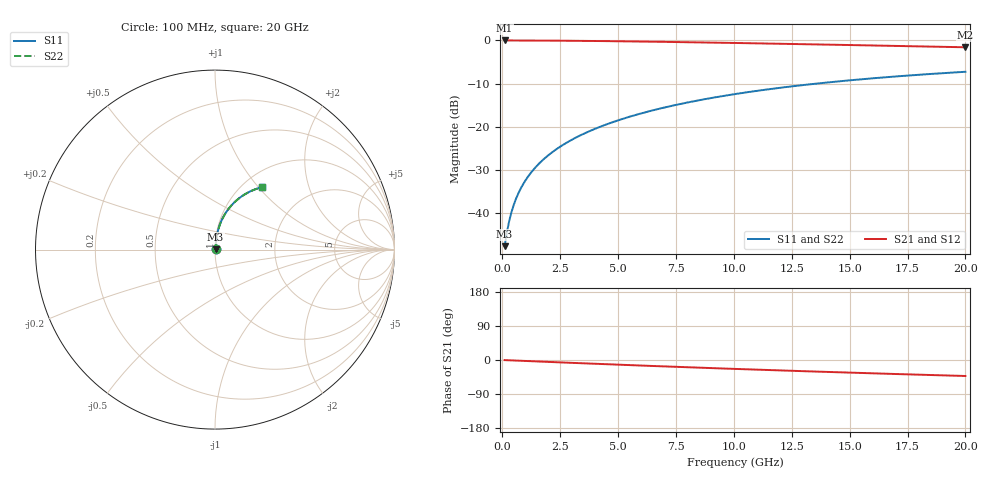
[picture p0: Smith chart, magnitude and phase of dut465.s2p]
! Touchstone file exported from HFSS 2024.1.0
!  File:  C:/UserFiles/LocalFiles/RDL_TSV_Batchsim/temp_RDL_top_465_1779677715.aedt
!  Generated:  10:57:35 AM May 25, 2026
!  Design:  RDL_top
!  Project:  temp_RDL_top_465_1779677715
!  Setup:  Setup1
!  Solution:  Sweep
! Variables:
!  dtsv = 10.80580581um
!  hbump = 3um
!  htsv = 80.96um
!  ldown = 100um
!  lrdl = 543.21um
!  p = 40
!  p1 = 56.95um
!  rhole = 1um
!  t = 450um
!  tdown = 3.915915916um
!  trdl = 3.24um
!  wdown = 15.38538539um
!  wrdl = 18.7um
# GHz S MA R 50.000000
! Terminal data exported
! Port[1] = Box2_T1
! Port[2] = Box2_T2
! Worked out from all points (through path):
!   200 points, 100 MHz to 20 GHz, reference 50 ohm
!   highest |S21| = -0.03 dB at 100 MHz (marker M1); lowest = -1.6 dB at 20 GHz (marker M2)
!   group delay of S21, straight-line fit = 5.84 ps
!   lowest |S11| = -47.6 dB at 100 MHz (marker M3), VSWR 1.01, Z = 50.3 + j0.251 ohm
!   |S11| at or under -10 dB: start of sweep to 13.57 GHz
!   |S22| runs from -47.6 to -7.3 dB; largest |S21 - S12| = 2.6e-15
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0.1  0.004177 36.7  0.9966 -0.3  0.9966 -0.3  0.004177 36.7
! Gamma 0 0 0 0
! Port Impedance 50 0 50 0
0.2  0.006042 55.1  0.9965 -0.5  0.9965 -0.5  0.006042 55.1
0.3  0.008193 63.9  0.9964 -0.8  0.9964 -0.8  0.008193 63.9
0.4  0.01042 68.9  0.9962 -1.0  0.9962 -1.0  0.01042 68.9
0.5  0.01266 72.1  0.996 -1.3  0.996 -1.3  0.01266 72.1
0.6  0.01492 74.3  0.9958 -1.5  0.9958 -1.5  0.01492 74.3
0.8  0.01946 77.3  0.9955 -2.0  0.9955 -2.0  0.01946 77.3
1.1  0.02633 79.7  0.9949 -2.8  0.9949 -2.8  0.02633 79.7
1.5  0.03559 81.4  0.9939 -3.8  0.9939 -3.8  0.03559 81.4
1.8  0.04258 82.0  0.993 -4.6  0.993 -4.6  0.04258 82.0
2.1  0.04961 82.3  0.992 -5.3  0.992 -5.3  0.04961 82.3
2.7  0.06376 82.5  0.9896 -6.8  0.9896 -6.8  0.06376 82.5
3.5  0.0828 82.1  0.9855 -8.8  0.9855 -8.8  0.0828 82.1
4.2  0.09959 81.4  0.9814 -10.4  0.9814 -10.4  0.09959 81.4
5  0.1189 80.4  0.9759 -12.3  0.9759 -12.3  0.1189 80.4
5.9  0.1407 79.1  0.9692 -14.4  0.9692 -14.4  0.1407 79.1
6.8  0.1624 77.6  0.9618 -16.5  0.9618 -16.5  0.1624 77.6
8.4  0.2007 74.7  0.9477 -20.0  0.9477 -20.0  0.2007 74.7
10.1  0.2404 71.5  0.9317 -23.6  0.9317 -23.6  0.2404 71.5
13.4  0.3126 65.2  0.8988 -30.3  0.8988 -30.3  0.3126 65.2
16.7  0.377 59.0  0.8649 -36.5  0.8649 -36.5  0.377 59.0
20  0.433 53.2  0.8313 -42.2  0.8313 -42.2  0.4329 53.2
